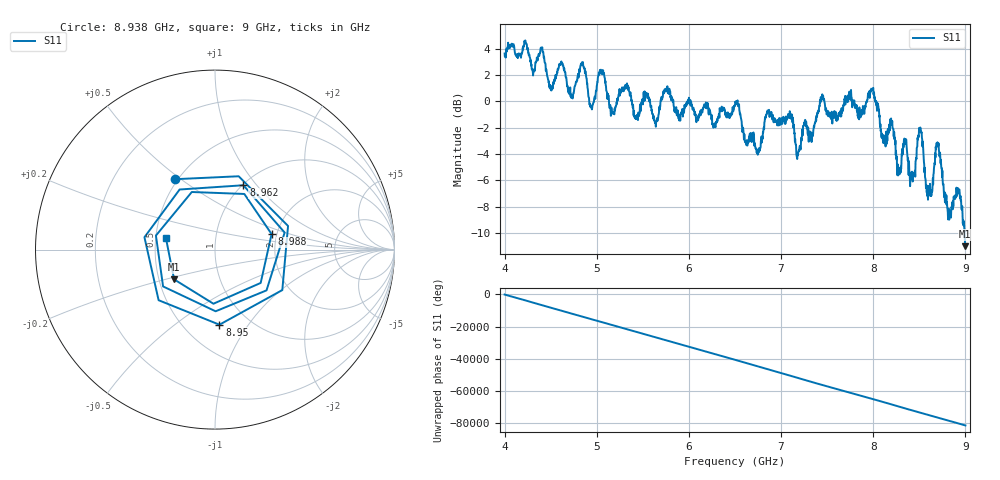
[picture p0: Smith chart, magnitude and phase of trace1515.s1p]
! Created with skrf 1.8.0 (http://scikit-rf.org).
# Hz S RI R 50.0
!freq ReS11 ImS11
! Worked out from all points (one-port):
!   1601 points, 4 GHz to 9 GHz, reference 50 ohm
!   lowest |S11| = -11.0 dB at 8.997 GHz (marker M1), VSWR 1.78, Z = 30 - j10.8 ohm
!   |S11| at or under -10 dB: 8.990697 GHz to end of sweep
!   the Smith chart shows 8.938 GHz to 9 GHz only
!   S11 on the Smith chart (normalised r, x): 8.938 GHz: 0.48, +0.48; 8.95 GHz: 0.73, -0.74; 8.962 GHz: 1.01, +0.86; 8.988 GHz: 1.88, +0.36; 9 GHz: 0.57, +0.08
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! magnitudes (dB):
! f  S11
! 4 GHz  3.6
! 4.625 GHz  2.8
! 4.853 GHz  2.7
! 4.944 GHz  -0.3
! 5.044 GHz  2.4
! 5.25 GHz  0.4
! 5.875 GHz  -0.9
! 6.5 GHz  -0.3
! 6.747 GHz  -4.0
! 6.853 GHz  -0.7
! 7.125 GHz  -1.6
! 7.188 GHz  -3.8
! 7.441 GHz  0.3
! 7.75 GHz  0.3
! 7.994 GHz  0.9
! 8.278 GHz  -5.3
! 8.375 GHz  -4.5
! 8.431 GHz  -6.0
! 8.506 GHz  -2.0
! 8.606 GHz  -6.6
! 8.703 GHz  -3.4
! 8.822 GHz  -8.8
! 8.938 GHz  -6.9
! 8.95 GHz  -7.6
! 8.962 GHz  -8.1
! 8.988 GHz  -9.7
! 8.997 GHz  -11.0
! 9 GHz  -11.0
